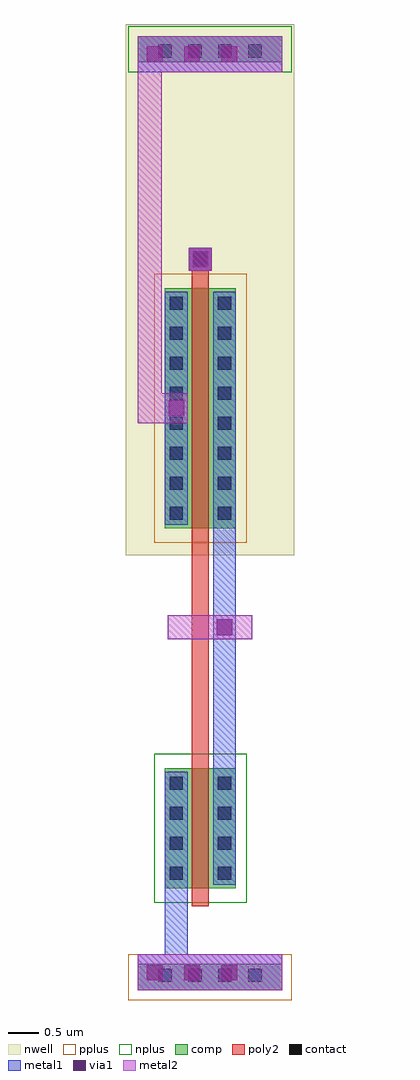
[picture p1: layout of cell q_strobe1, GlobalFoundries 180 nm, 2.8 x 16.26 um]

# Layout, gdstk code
import gdstk
lib = gdstk.Library(unit=1e-6, precision=1e-09)
def R(c, l, rs):  # rectangles x0, y0, x1, y1
    for r in rs: c.add(gdstk.rectangle(r[:2], r[2:], *l))
def A(c, l, x, y, w, h, nx, ny, dx, dy):  # array of equal rectangles
    R(c, l, [(x+i*dx, y+j*dy, x+i*dx+w, y+j*dy+h) for i in range(nx) for j in range(ny)])
nwell = (21, 0)
comp = (22, 0)
poly2 = (30, 0)
pplus = (31, 0)
nplus = (32, 0)
contact = (33, 0)
metal1 = (34, 0)
via1 = (35, 0)
metal2 = (36, 0)

q_strobe1 = lib.new_cell('q_strobe1')
R(q_strobe1, nwell, [(-0.2,7.25,2.6,16.1)])
R(q_strobe1, comp, [(0,0,2.4,0.44), (0.45,1.7,1.63,3.7), (0.45,7.7,1.63,11.7), (0,15.46,2.4,15.9)])
R(q_strobe1, poly2, [(0.9,1.4,1.18,7.7), (0.9,7.4,1.18,12.36), (0.86,12,1.22,12.36)])
R(q_strobe1, pplus, [(-0.16,-0.16,2.56,0.6), (0.27,7.46,1.81,11.94)])
R(q_strobe1, nplus, [(0.27,1.46,1.81,3.94), (-0.16,15.3,2.56,16.06)])
A(q_strobe1, contact, 0.34, 0.14, 0.22, 0.22, 4, 2, 0.5, 15.4)
A(q_strobe1, contact, 0.53, 1.84, 0.22, 0.22, 1, 4, 0, 0.5)
A(q_strobe1, contact, 1.33, 1.84, 0.22, 0.22, 1, 4, 0, 0.5)
A(q_strobe1, contact, 0.53, 7.84, 0.22, 0.22, 1, 8, 0, 0.5)
A(q_strobe1, contact, 1.33, 7.84, 0.22, 0.22, 1, 8, 0, 0.5)
R(q_strobe1, contact, [(0.93,12.07,1.15,12.29)])
R(q_strobe1, metal1, [(0,0,2.4,0.6), (0,0,2.4,0.44), (0.45,0.3,0.83,3.64), (1.25,1.76,1.63,6.25), (1.25,5.85,1.63,11.64), (0.45,7.76,0.83,11.64), (0.85,11.99,1.23,12.37), (0,15.3,2.4,15.9), (0,15.46,2.4,15.9)])
A(q_strobe1, via1, 0.15, 0.17, 0.26, 0.26, 3, 2, 0.62, 15.3)
R(q_strobe1, via1, [(1.31,5.92,1.57,6.18), (1.31,5.92,1.57,6.18), (0.51,9.57,0.77,9.83), (0.91,12.05,1.17,12.31)])
R(q_strobe1, metal2, [(0,0,2.4,0.6), (0.5,5.85,1.9,6.25), (0,9.45,0.83,9.95), (0,9.45,0.4,15.3), (0.85,11.99,1.23,12.37), (0,15.3,2.4,15.9)])

lib.write_gds('q_strobe1.gds')
